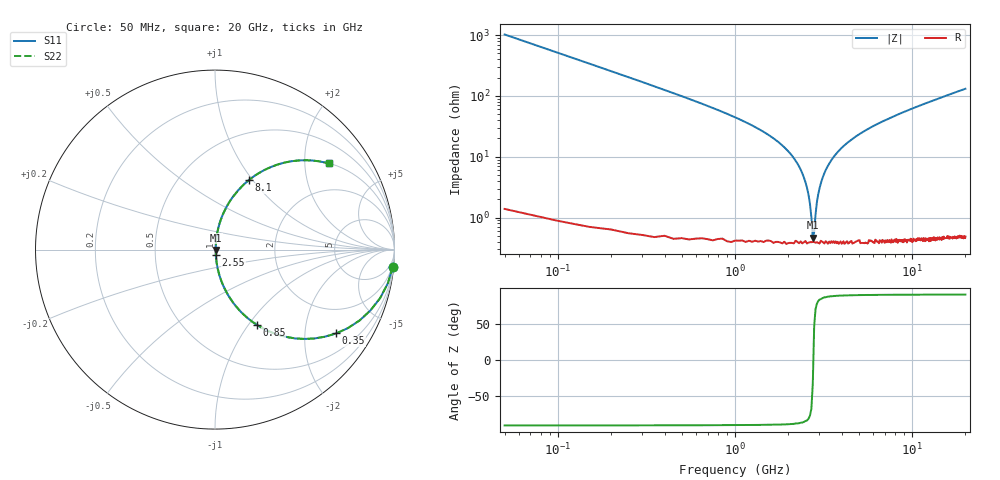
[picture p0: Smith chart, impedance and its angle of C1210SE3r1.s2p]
! AVX Thin Film Operation		Date: April 2012
! Description: Accu-P® Series, Thin Film, SMD, RF Capacitor
! Part Number: 12101J3R1ABTTR
!	100	MHz	-	20.05	GHz
!	Serial	Measurements
#	MHZ	S	MA	R	50
!	S11	S21	S12	S22
!	dB	Phase	dB	Phase	dB	Phase	dB	Phase
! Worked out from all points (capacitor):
!   400 points, 50 MHz to 20 GHz, reference 50 ohm
!   read as one part in series: C = 3.1 pF near 150 MHz
!   lowest |Z| = 468 mohm at 2.75 GHz (marker M1)
!   series resonance near 2.769 GHz, so ESL is about 1.1 nH
!   S11 on the Smith chart (normalised r, x): 50 MHz: 1, -21; 350 MHz: 1.01, -2.89; 850 MHz: 1.01, -1.09; 2.55 GHz: 1.01, -0.06; 8.1 GHz: 1.01, +0.96; 20 GHz: 1.01, +2.63
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50  0.995 -5.6  0.097 84.4  0.097 84.4  0.995 -5.6
100  0.981 -11.0  0.191 78.9  0.191 78.9  0.981 -11.0
150  0.959 -16.3  0.281 73.6  0.281 73.6  0.959 -16.3
350  0.821 -34.6  0.569 55.2  0.569 55.2  0.821 -34.6
850  0.478 -61.0  0.874 28.6  0.874 28.6  0.478 -61.0
1350  0.277 -73.1  0.957 16.1  0.957 16.1  0.277 -73.1
2050  0.112 -81.6  0.99 6.4  0.99 6.4  0.112 -81.6
2350  0.061 -82.9  0.994 3.5  0.994 3.5  0.061 -82.9
2550  0.031 -81.0  0.996 1.7  0.996 1.7  0.031 -81.0
2650  0.017 -75.5  0.996 0.9  0.996 0.9  0.017 -75.5
2750  0.004613 -32.3  0.996 0.1  0.996 0.1  0.004613 -32.3
2800  0.005711 46.8  0.996 -0.2  0.996 -0.2  0.005711 46.8
2900  0.018 76.2  0.996 -1.0  0.996 -1.0  0.018 76.2
3000  0.03 80.8  0.996 -1.7  0.996 -1.7  0.03 80.8
3400  0.076 82.7  0.993 -4.4  0.993 -4.4  0.076 82.7
4550  0.188 78.0  0.978 -10.8  0.978 -10.8  0.188 78.0
6700  0.348 69.0  0.934 -20.3  0.934 -20.3  0.348 69.0
8100  0.431 64.0  0.899 -25.5  0.899 -25.5  0.431 64.0
10050  0.527 57.8  0.847 -31.8  0.847 -31.8  0.527 57.8
13350  0.649 49.3  0.758 -40.4  0.758 -40.4  0.649 49.3
16700  0.735 42.5  0.675 -47.3  0.675 -47.3  0.735 42.5
20000  0.794 37.2  0.605 -52.6  0.605 -52.6  0.794 37.2
